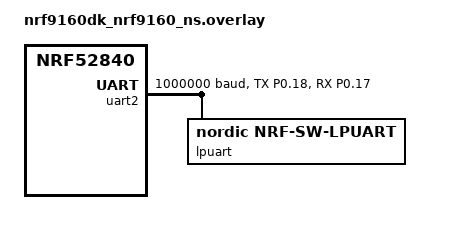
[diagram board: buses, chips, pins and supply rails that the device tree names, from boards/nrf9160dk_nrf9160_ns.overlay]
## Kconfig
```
# Copyright (c) 2025 Golioth, Inc.
# SPDX-License-Identifier: Apache-2.0

configdefault NET_SHELL
	default n

configdefault MBEDTLS_USE_PSA_CRYPTO
	default n

configdefault MBEDTLS_HEAP_SIZE
	default 16384

configdefault BT_CTLR_DATA_LENGTH_MAX
	default 251

configdefault MBEDTLS_PSA_CRYPTO_STORAGE_C
	default n

source "${ZEPHYR_GOLIOTH_FIRMWARE_SDK_MODULE_DIR}/examples/zephyr/common/Kconfig.defconfig"

source "Kconfig.zephyr"
```

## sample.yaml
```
sample:
  name: Pouch Gateway
common:
  tags: bluetooth
  harness: pytest
  harness_config:
    pytest_dut_scope: module
  sysbuild: true
  platform_allow:
    - nrf52_bsim
  integration_platforms:
    - nrf52_bsim
  timeout: 120
tests:
  pouch-gateway.gateway.lesc:
    extra_args:
      - SB_CONFIG_PERIPHERAL_MOUNT_CREDS=y
      - peripheral_ble_gatt_example_0_CONFIG_PICOLIBC=y
      - peripheral_ble_gatt_example_0_CONFIG_FILE_SYSTEM_NSIM_MOUNT=y
      - peripheral_ble_gatt_example_0_CONFIG_EXAMPLE_SYNC_PERIOD_S=2
  pouch-gateway.gateway.auth:
    extra_args:
      - SB_CONFIG_PERIPHERAL_MOUNT_CREDS=y
      - peripheral_ble_gatt_example_0_CONFIG_PICOLIBC=y
      - peripheral_ble_gatt_example_0_CONFIG_FILE_SYSTEM_NSIM_MOUNT=y
      - peripheral_ble_gatt_example_0_CONFIG_EXAMPLE_SYNC_PERIOD_S=2
      - gateway_CONFIG_POUCH_GATEWAY_GATT_SCAN_FILTER_BONDED=y
```

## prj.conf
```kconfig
CONFIG_POUCH_GATEWAY=y

CONFIG_BT=y
CONFIG_BT_CENTRAL=y
CONFIG_BT_MAX_CONN=16
CONFIG_BT_GATT_CLIENT=y
CONFIG_BT_GATT_CACHING=n
CONFIG_BT_GATT_AUTO_UPDATE_MTU=y
CONFIG_BT_L2CAP_TX_MTU=247
CONFIG_BT_BUF_ACL_TX_SIZE=251
CONFIG_BT_BUF_ACL_RX_SIZE=251

CONFIG_COAP_INIT_ACK_TIMEOUT_MS=3000

CONFIG_LOG=y

# Settings subsystem
CONFIG_FCB=y
CONFIG_FLASH=y
CONFIG_FLASH_MAP=y

CONFIG_SETTINGS=y
CONFIG_SETTINGS_FCB=y

# Application
CONFIG_GOLIOTH_SAMPLE_COMMON=y
CONFIG_GOLIOTH_SAMPLE_SETTINGS_SHELL=y

# Golioth Firmware SDK with all dependencies
CONFIG_GOLIOTH_FIRMWARE_SDK=y
CONFIG_GOLIOTH_GATEWAY=y

# Golioth logging backend
CONFIG_LOG_MODE_DEFERRED=y
CONFIG_LOG_BACKEND_GOLIOTH=y

# Application
CONFIG_MAIN_STACK_SIZE=2048
CONFIG_SYSTEM_WORKQUEUE_STACK_SIZE=2048
CONFIG_SHELL=y

# Pouch BLE GATT Transport
CONFIG_POUCH_TRANSPORT_GATT_COMMON=y

CONFIG_ZVFS_EVENTFD_MAX=11

# Pouch server certificate parse
CONFIG_MBEDTLS_PSA_CRYPTO_C=y
CONFIG_MBEDTLS_PEM_CERTIFICATE_FORMAT=y
CONFIG_PSA_WANT_ALG_ECDSA=y
CONFIG_PSA_WANT_ALG_SHA_384=y
CONFIG_PSA_WANT_ECC_SECP_R1_256=y
CONFIG_PSA_WANT_ECC_SECP_R1_384=y
CONFIG_PSA_WANT_KEY_TYPE_ECC_PUBLIC_KEY=y

# Bluetooth secure connections
CONFIG_BT_SMP=y
CONFIG_MBEDTLS_ECP_C=y
# This option is implied by BT_SMP and breaks secp384r1 support
CONFIG_MBEDTLS_PSA_P256M_DRIVER_ENABLED=n
```

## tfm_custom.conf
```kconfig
CONFIG_TFM_PROFILE_TYPE_NOT_SET=y
CONFIG_PM_PARTITION_SIZE_TFM_SRAM=0x8000
CONFIG_PM_PARTITION_SIZE_TFM=0x7E00
CONFIG_TFM_CRYPTO_RNG_MODULE_ENABLED=y
CONFIG_TFM_PARTITION_CRYPTO=y
CONFIG_TFM_PARTITION_PLATFORM=y
CONFIG_TFM_PARTITION_PROTECTED_STORAGE=n
CONFIG_TFM_PARTITION_INTERNAL_TRUSTED_STORAGE=n
CONFIG_PM_PARTITION_SIZE_TFM_INTERNAL_TRUSTED_STORAGE=0
CONFIG_TFM_SFN=y

CONFIG_TFM_EXCEPTION_INFO_DUMP=n
CONFIG_TFM_CRYPTO_AEAD_MODULE_ENABLED=n
CONFIG_TFM_CRYPTO_ASYM_ENCRYPT_MODULE_ENABLED=n
CONFIG_TFM_CRYPTO_ASYM_SIGN_MODULE_ENABLED=n
CONFIG_TFM_CRYPTO_BUILTIN_KEYS=n
CONFIG_TFM_CRYPTO_CIPHER_MODULE_ENABLED=y
CONFIG_TFM_CRYPTO_HASH_MODULE_ENABLED=n
CONFIG_TFM_CRYPTO_KEY_DERIVATION_MODULE_ENABLED=n
CONFIG_TFM_CRYPTO_MAC_MODULE_ENABLED=y
CONFIG_MBEDTLS_CHACHAPOLY_C=n
CONFIG_MBEDTLS_PSA_CRYPTO_STORAGE_C=n
CONFIG_MBEDTLS_CCM_C=y
CONFIG_MBEDTLS_GCM_C=n
CONFIG_MBEDTLS_CHACHA20_C=n
CONFIG_MBEDTLS_POLY1305_C=n
CONFIG_MBEDTLS_CIPHER_MODE_CBC=n
CONFIG_MBEDTLS_CIPHER_MODE_CTR=n
CONFIG_MBEDTLS_CMAC_C=y
CONFIG_MBEDTLS_DHM_C=n
CONFIG_MBEDTLS_FORCE_LEGACY_CIPHER=y
CONFIG_MBEDTLS_FORCE_LEGACY_MD=y
CONFIG_MBEDTLS_MAC_SHA256_ENABLED=n
CONFIG_MBEDTLS_SHA1_C=n
CONFIG_PSA_WANT_ALG_HMAC_DRBG=y
CONFIG_PSA_WANT_ALG_CBC_PKCS7=n
CONFIG_PSA_WANT_ALG_CCM=n
CONFIG_PSA_WANT_ALG_CHACHA20=n
CONFIG_PSA_WANT_ALG_CHACHA20_POLY1305=n
CONFIG_PSA_WANT_ALG_CTR=n
CONFIG_PSA_WANT_ALG_CTR_DRBG=n
CONFIG_PSA_WANT_ALG_CMAC=y
CONFIG_PSA_WANT_GENERATE_RANDOM=y
CONFIG_MBEDTLS_AES_ROM_TABLES=n
CONFIG_MBEDTLS_CIPHER_PADDING_ONE_AND_ZEROS=n
CONFIG_MBEDTLS_CIPHER_PADDING_PKCS7=n
CONFIG_MBEDTLS_CIPHER_PADDING_ZEROS=n
CONFIG_MBEDTLS_CIPHER_PADDING_ZEROS_AND_LEN=n
CONFIG_MBEDTLS_PKCS5_C=n
CONFIG_PSA_WANT_KEY_TYPE_CHACHA20=n
CONFIG_TFM_CRYPTO_KEY_MODULE_ENABLED=n
CONFIG_HW_UNIQUE_KEY=n
CONFIG_TFM_LOG_LEVEL_SILENCE=y
CONFIG_TFM_CRYPTO_CONC_OPER_NUM=1
CONFIG_TFM_CRYPTO_ENGINE_BUF_SIZE=4096
CONFIG_TFM_CRYPTO_IOVEC_BUFFER_SIZE=2048
CONFIG_TFM_CRYPTO_PARTITION_STACK_SIZE=0x800
CONFIG_PM_PARTITION_SIZE_TFM=0x17E00
CONFIG_PM_PARTITION_SIZE_TFM_SRAM=0xc000
CONFIG_TFM_CRYPTO_KEY_MODULE_ENABLED=y
CONFIG_TFM_CRYPTO_KEY_DERIVATION_MODULE_ENABLED=y
# Enable ECC support for Bluetooth through PSA Crypto
CONFIG_PSA_WANT_ECC_SECP_R1_256=y
CONFIG_PSA_WANT_ALG_ECDH=y
CONFIG_PSA_WANT_KEY_TYPE_ECC_KEY_PAIR_GENERATE=y
CONFIG_PSA_WANT_KEY_TYPE_ECC_KEY_PAIR_DERIVE=y
CONFIG_PSA_WANT_KEY_TYPE_ECC_KEY_PAIR_IMPORT=y
CONFIG_PSA_WANT_KEY_TYPE_ECC_KEY_PAIR_EXPORT=y
CONFIG_PSA_WANT_KEY_TYPE_ECC_PUBLIC_KEY=y
CONFIG_MBEDTLS_ECP_C=y
CONFIG_MBEDTLS_ECP_DP_SECP256R1_ENABLED=y
CONFIG_MBEDTLS_ECDH_C=y
# Enable AES and CMAC for Bluetooth SMP pairing
CONFIG_PSA_WANT_ALG_ECB_NO_PADDING=y
CONFIG_PSA_WANT_KEY_TYPE_AES=y
CONFIG_MBEDTLS_AES_C=y
CONFIG_MBEDTLS_CIPHER=y
CONFIG_WARN_EXPERIMENTAL=n
# Disable SSL features not needed for Bluetooth
CONFIG_MBEDTLS_SSL_CONTEXT_SERIALIZATION=n

CONFIG_SHELL=y
```

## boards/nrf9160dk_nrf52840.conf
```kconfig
# PPP
CONFIG_NET_L2_PPP=y
CONFIG_NET_L2_PPP_OPTION_DNS_USE=y

# Network management
CONFIG_NET_MGMT=y
CONFIG_NET_MGMT_EVENT=y
CONFIG_NET_CONNECTION_MANAGER=y

# Modem driver
CONFIG_MODEM=y
CONFIG_MODEM_CELLULAR=y

# Align with the Serial LTE Modem (SLM) application.
CONFIG_MODEM_CELLULAR_UART_BUFFER_SIZES=6000

# Reduce periodic AT command polling to minimize CMUX contention
CONFIG_MODEM_CELLULAR_PERIODIC_SCRIPT_MS=30000

# CMUX configuration
# MTU must accommodate PPP frames (up to 1500 bytes for IP packets)
CONFIG_MODEM_CMUX_MTU=1500
CONFIG_MODEM_CMUX_WORK_BUFFER_SIZE_EXTRA=1024

# NB-IoT latency can reach 10s; use greater timeouts
CONFIG_NET_SOCKETS_DNS_TIMEOUT=15000
CONFIG_NET_SOCKETS_CONNECT_TIMEOUT=15000
CONFIG_COAP_INIT_ACK_TIMEOUT_MS=15000
CONFIG_NET_SOCKETS_DTLS_TIMEOUT=15000
```

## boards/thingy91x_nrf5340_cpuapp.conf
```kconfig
# PPP networking over Serial Modem
CONFIG_NET_L2_PPP=y
CONFIG_NET_L2_PPP_OPTION_DNS_USE=y

# Network management
CONFIG_NET_MGMT=y
CONFIG_NET_MGMT_EVENT=y
CONFIG_NET_CONNECTION_MANAGER=y

# Modem driver
CONFIG_MODEM=y
CONFIG_MODEM_CELLULAR=y

# CMUX and buffer configuration
# MTU must accommodate PPP frames (up to 1500 bytes for IP packets)
CONFIG_MODEM_CMUX_MTU=1500
CONFIG_MODEM_CELLULAR_UART_BUFFER_SIZES=6000
CONFIG_MODEM_CMUX_WORK_BUFFER_SIZE_EXTRA=1024

# UART configuration for nRF5340
CONFIG_UART_INTERRUPT_DRIVEN=y
CONFIG_UART_ASYNC_API=n

# GPIO
CONFIG_GPIO=y

# Console on RTT (UART0 is used for the modem)
CONFIG_UART_CONSOLE=n
CONFIG_RTT_CONSOLE=y
CONFIG_SHELL_BACKEND_RTT=y
CONFIG_LOG_BACKEND_UART=n
CONFIG_SEGGER_RTT_BUFFER_SIZE_UP=2048

# Debug logging
CONFIG_LOG_DEFAULT_LEVEL=3

# NB-IoT latency can reach 10s; use greater timeouts
CONFIG_NET_SOCKETS_DNS_TIMEOUT=15000
CONFIG_NET_SOCKETS_CONNECT_TIMEOUT=15000
CONFIG_COAP_INIT_ACK_TIMEOUT_MS=15000
CONFIG_NET_SOCKETS_DTLS_TIMEOUT=15000
```

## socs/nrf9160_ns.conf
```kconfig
# Copyright (c) 2025 Golioth, Inc.
# SPDX-License-Identifier: Apache-2.0

# General config
CONFIG_HEAP_MEM_POOL_SIZE=65536
CONFIG_NEWLIB_LIBC=y

# Networking
CONFIG_NET_SOCKETS_OFFLOAD=y
CONFIG_NET_IPV6=y
CONFIG_NET_IPV6_NBR_CACHE=n
CONFIG_NET_IPV6_MLD=n

# Increase native TLS socket implementation, so that it is chosen instead of
# offloaded nRF91 sockets
CONFIG_NET_SOCKETS_TLS_PRIORITY=35

# Modem library
CONFIG_NRF_MODEM_LIB=y

# LTE connectivity with network connection manager
CONFIG_NRF_MODEM_LIB_NET_IF=y
CONFIG_NRF_MODEM_LIB_NET_IF_AUTO_START=y
CONFIG_NRF_MODEM_LIB_NET_IF_AUTO_CONNECT=n
CONFIG_NET_CONNECTION_MANAGER=y
CONFIG_NET_CONNECTION_MANAGER_MONITOR_STACK_SIZE=1024

# Add Logs for LTE Link Handler
CONFIG_GOLIOTH_SAMPLE_NRF91_LTE_MONITOR=y

# Disable options y-selected by NCS for no good reason
CONFIG_MBEDTLS_KEY_EXCHANGE_DHE_PSK_ENABLED=n
CONFIG_MBEDTLS_KEY_EXCHANGE_DHE_RSA_ENABLED=n
CONFIG_MBEDTLS_PK_PARSE_EC_EXTENDED=n

# MbedTLS configuration to support p-384 curve. These options
# enable using the MbedTLS built-in support for operations not
# supported by the default nRF Oberon crypto backend
CONFIG_NORDIC_SECURITY_BACKEND=n
CONFIG_MBEDTLS_LEGACY_CRYPTO_C=y

# Add Network Info Support
CONFIG_MODEM_INFO=y

# Generate MCUboot compatible images
CONFIG_BOOTLOADER_MCUBOOT=y

# Enable TF-M crypto modules for Bluetooth ECC operations
# Note: These may not take effect with MINIMAL profile due to Kconfig dependencies
CONFIG_TFM_CRYPTO_KEY_MODULE_ENABLED=y
CONFIG_TFM_CRYPTO_KEY_DERIVATION_MODULE_ENABLED=y
```

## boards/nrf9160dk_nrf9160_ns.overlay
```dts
/*
 * Copyright (c) 2022 Nordic Semiconductor ASA
 *
 * SPDX-License-Identifier: LicenseRef-Nordic-5-Clause
 */

#include <nrf9160/nrf9160dk_nrf52840_reset_on_if5.dtsi>

/ {
	chosen {
		zephyr,bt-hci = &bt_hci_uart;
	};
};

&gpiote {
	interrupts = <49 NRF_DEFAULT_IRQ_PRIORITY>;
};

&uart2 {
	current-speed = <1000000>;
	status = "okay";
	/delete-property/ hw-flow-control;

	pinctrl-0 = <&uart2_default_alt>;
	pinctrl-1 = <&uart2_sleep_alt>;
	lpuart: nrf-sw-lpuart {
		compatible = "nordic,nrf-sw-lpuart";
		status = "okay";
		req-pin = <21>; /* <&interface_to_nrf52840 3 0>; */
		rdy-pin = <19>; /* <&interface_to_nrf52840 2 0>; */

		bt_hci_uart: bt_hci_uart {
			compatible = "zephyr,bt-hci-uart";
			status = "okay";
		};
	};
};
&uart1 {
	status = "disabled";
};

&pinctrl {
	uart2_default_alt: uart2_default_alt {
		group1 {
			psels = <NRF_PSEL(UART_TX, 0, 18)>;
		};
		group2 {
			psels = <NRF_PSEL(UART_RX, 0, 17)>;
			bias-pull-up;
		};
	};

	uart2_sleep_alt: uart2_sleep_alt {
		group1 {
			psels = <NRF_PSEL(UART_TX, 0, 18)>,
				<NRF_PSEL(UART_RX, 0, 17)>;
			low-power-enable;
		};
	};
};
```

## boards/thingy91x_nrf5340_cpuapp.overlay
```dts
/*
 * Thingy:91 X overlay for Serial Modem communication with on-board nRF9151
 *
 * UART0 is used for Serial Modem communication with 4-wire UART (HW flow control).
 * Pin assignment matches the pouch-gateway BT HCI UART wiring:
 *   TX  = P0.29 <-> nRF9151 P0.00 (RX)
 *   RX  = P1.04 <-> nRF9151 P0.01 (TX)
 *   RTS = P1.06 <-> nRF9151 P0.05 (CTS)
 *   CTS = P1.08 <-> nRF9151 P0.04 (RTS)
 *   DTR = P1.15 <-> nRF9151 P0.26 (Power/DTR)
 *
 * Console is on RTT since UART0 is used for the modem.
 */

/ {
	aliases {
		modem = &modem;
	};
};

&uart0 {
	status = "okay";
	current-speed = <115200>;
	hw-flow-control;
	pinctrl-0 = <&uart_vcom0_vcom1_default>;
	pinctrl-1 = <&uart_vcom0_vcom1_sleep>;
	pinctrl-names = "default", "sleep";

	/* Nordic nRF91 Serial Modem configuration */
	modem: modem {
		compatible = "nordic,nrf91-slm";
		status = "okay";
		mdm-dtr-gpios = <&gpio0 30 GPIO_ACTIVE_LOW>;
		mdm-ring-gpios = <&gpio0 31 (GPIO_ACTIVE_LOW | GPIO_PULL_DOWN)>;
	};
};

&pinctrl {
	/* UART0 with HW flow control using pouch-gateway BT HCI pin assignment */
	uart_vcom0_vcom1_default: uart_vcom0_vcom1_default {
		group1 {
			psels = <NRF_PSEL(UART_TX,  0, 29)>,
			        <NRF_PSEL(UART_CTS, 1, 8)>,
			        <NRF_PSEL(UART_RX,  1, 4)>,
			        <NRF_PSEL(UART_RTS, 1, 6)>;
		};
	};

	uart_vcom0_vcom1_sleep: uart_vcom0_vcom1_sleep {
		group1 {
			psels = <NRF_PSEL(UART_TX, 0, 29)>,
				<NRF_PSEL(UART_CTS, 1, 8)>,
				<NRF_PSEL(UART_RX, 1, 4)>,
				<NRF_PSEL(UART_RTS, 1, 6)>;
			low-power-enable;
		};
	};
};
```

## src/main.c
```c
/*
 * Copyright (c) 2025 Golioth, Inc.
 *
 * SPDX-License-Identifier: Apache-2.0
 */

#include <zephyr/bluetooth/bluetooth.h>
#include <zephyr/bluetooth/conn.h>
#include <zephyr/bluetooth/hci.h>
#include <zephyr/net/net_if.h>
#include <zephyr/net/dhcpv4.h>
#include <zephyr/drivers/gpio.h>

#include <golioth/client.h>
#include <golioth/gateway.h>
#include <samples/common/sample_credentials.h>

#include <pouch/transport/gatt/common/types.h>

#include <pouch_gateway/bt/bond.h>
#include <pouch_gateway/bt/connect.h>
#include <pouch_gateway/bt/scan.h>
#include <pouch_gateway/cert.h>
#include <pouch_gateway/downlink.h>
#include <pouch_gateway/uplink.h>

#include <git_describe.h>

#include <zephyr/logging/log.h>
LOG_MODULE_REGISTER(main);

struct golioth_client *client;

struct net_wait_data
{
    struct k_sem sem;
    struct net_mgmt_event_callback cb;
};

static const struct gpio_dt_spec button = GPIO_DT_SPEC_GET_OR(DT_ALIAS(sw0), gpios, {});
static struct gpio_callback button_cb_data;
static struct bt_conn *default_conn;

static const k_timeout_t bonding_timeout = K_SECONDS(30);
static const bt_security_t bt_security =
    IS_ENABLED(CONFIG_POUCH_GATEWAY_GATT_SCAN_FILTER_BONDED) ? BT_SECURITY_L4 : BT_SECURITY_L2;

static void button_pressed(const struct device *dev, struct gpio_callback *cb, uint32_t pins)
{
    if (default_conn)
    {
        LOG_INF("Confirming passkey");
        bt_conn_auth_passkey_confirm(default_conn);
    }
    else if (pouch_gateway_bonding_is_enabled())
    {
        LOG_WRN("Bonding already enabled");
    }
    else
    {
        pouch_gateway_bonding_enable(bonding_timeout);
    }
}

#ifdef CONFIG_POUCH_GATEWAY_CLOUD

static K_SEM_DEFINE(connected, 0, 1);

static void on_client_event(struct golioth_client *client,
                            enum golioth_client_event event,
                            void *arg)
{
    bool is_connected = (event == GOLIOTH_CLIENT_EVENT_CONNECTED);
    if (is_connected)
    {
        k_sem_give(&connected);
    }
    LOG_INF("Golioth client %s", is_connected ? "connected" : "disconnected");
}

static void connect_golioth_client(void)
{
    const struct golioth_client_config *client_config = golioth_sample_credentials_get();
    if (client_config == NULL || client_config->credentials.psk.psk_id_len == 0
        || client_config->credentials.psk.psk_len == 0)
    {
        LOG_ERR("No credentials found.");
        LOG_ERR(
            "Please store your credentials with the following commands, then reboot the device.");
        LOG_ERR("\tsettings set golioth/psk-id <your-psk-id>");
        LOG_ERR("\tsettings set golioth/psk <your-psk>");
        return;
    }

    client = golioth_client_create(client_config);

    golioth_client_register_event_callback(client, on_client_event, NULL);
}

static void event_cb_handler(struct net_mgmt_event_callback *cb,
                             uint64_t mgmt_event,
                             struct net_if *iface)
{
    struct net_wait_data *wait = CONTAINER_OF(cb, struct net_wait_data, cb);

    if (mgmt_event == cb->event_mask)
    {
        k_sem_give(&wait->sem);
    }
}

static void wait_for_net_event(struct net_if *iface, uint64_t event)
{
    struct net_wait_data wait;

    wait.cb.handler = event_cb_handler;
    wait.cb.event_mask = event;

    k_sem_init(&wait.sem, 0, 1);
    net_mgmt_add_event_callback(&wait.cb);

    k_sem_take(&wait.sem, K_FOREVER);

    net_mgmt_del_event_callback(&wait.cb);
}

static void connect_to_cloud(void)
{
    struct net_if *iface = net_if_get_default();

    if (!net_if_is_up(iface))
    {
        LOG_INF("Bringing up network interface (%p)", (void *) iface);
        int ret = net_if_up(iface);
        if ((ret < 0) && (ret != -EALREADY))
        {
            LOG_ERR("Failed to bring up network interface: %d", ret);
            return;
        }
    }

    if (IS_ENABLED(CONFIG_NET_L2_ETHERNET) && IS_ENABLED(CONFIG_NET_DHCPV4))
    {
        net_dhcpv4_start(net_if_get_default());
    }
    else if (IS_ENABLED(CONFIG_MODEM))
    {
        LOG_INF("Waiting to obtain IP address");
        wait_for_net_event(iface,
                           IS_ENABLED(DNS_SERVER_IP_ADDRESSES) ? NET_EVENT_DNS_SERVER_ADD
                                                               : NET_EVENT_IPV4_ADDR_ADD);
    }

    connect_golioth_client();
    k_sem_take(&connected, K_FOREVER);
}

#else /* CONFIG_POUCH_GATEWAY_CLOUD */

static inline void connect_to_cloud(void) {}

#endif /* CONFIG_POUCH_GATEWAY_CLOUD */

static void bt_connected(struct bt_conn *conn, uint8_t err)
{
    char addr[BT_ADDR_LE_STR_LEN];

    bt_addr_le_to_str(bt_conn_get_dst(conn), addr, sizeof(addr));

    if (err)
    {
        LOG_ERR("Failed to connect to %s %u %s", addr, err, bt_hci_err_to_str(err));

        bt_conn_unref(conn);

        pouch_gateway_scan_start();
        return;
    }

    LOG_INF("Connected: %s", addr);
    default_conn = conn;

    err = bt_conn_set_security(conn, bt_security);
    if (err)
    {
        LOG_ERR("Failed to set security (%d).", err);

        bt_conn_disconnect(conn, BT_HCI_ERR_REMOTE_USER_TERM_CONN);
        return;
    }
}

static void bt_disconnected(struct bt_conn *conn, uint8_t reason)
{
    char addr[BT_ADDR_LE_STR_LEN];

    default_conn = NULL;

    bt_addr_le_to_str(bt_conn_get_dst(conn), addr, sizeof(addr));
    LOG_INF("Disconnected: %s, reason 0x%02x %s", addr, reason, bt_hci_err_to_str(reason));

    pouch_gateway_bt_stop(conn);

    bt_conn_unref(conn);

    pouch_gateway_scan_start();
}

static void security_changed(struct bt_conn *conn, bt_security_t level, enum bt_security_err err)
{
    if (err)
    {
        LOG_ERR("BT security change failed. Current level: %d, err: %s(%u)",
                level,
                bt_security_err_to_str(err),
                err);

        struct bt_conn_info info;
        bt_conn_get_info(conn, &info);

        bt_unpair(info.id, info.le.dst);
        bt_conn_disconnect(conn, BT_HCI_ERR_INSUFFICIENT_SECURITY);
    }
    else
    {
        LOG_INF("BT security changed to level %u", level);

        pouch_gateway_bt_start(conn);
    }
}

BT_CONN_CB_DEFINE(conn_callbacks) = {
    .connected = bt_connected,
    .disconnected = bt_disconnected,
    .security_changed = security_changed,
};

static void auth_cancel(struct bt_conn *conn)
{
    char addr[BT_ADDR_LE_STR_LEN];

    bt_addr_le_to_str(bt_conn_get_dst(conn), addr, sizeof(addr));

    LOG_INF("Pairing cancelled: %s", addr);
}

static void auth_passkey_confirm(struct bt_conn *conn, unsigned int passkey)
{
    char addr[BT_ADDR_LE_STR_LEN];
    char passkey_str[7];

    bt_addr_le_to_str(bt_conn_get_dst(conn), addr, sizeof(addr));

    snprintk(passkey_str, 7, "%06u", passkey);

    LOG_INF("Confirm passkey for %s: %s", addr, passkey_str);

    if (IS_ENABLED(CONFIG_SAMPLE_POUCH_GATEWAY_BT_AUTO_CONFIRM))
    {
        LOG_INF("Confirming passkey");
        bt_conn_auth_passkey_confirm(conn);
    }
}

static void auth_passkey_display(struct bt_conn *conn, unsigned int passkey)
{
    char addr[BT_ADDR_LE_STR_LEN];
    char passkey_str[7];

    bt_addr_le_to_str(bt_conn_get_dst(conn), addr, sizeof(addr));

    snprintk(passkey_str, 7, "%06u", passkey);

    LOG_INF("Passkey for %s: %s", addr, passkey_str);
}

static struct bt_conn_auth_cb auth_cb = {
    .cancel = auth_cancel,

    .passkey_confirm =
        IS_ENABLED(CONFIG_POUCH_GATEWAY_GATT_SCAN_FILTER_BONDED) ? auth_passkey_confirm : NULL,
    .passkey_display =
        IS_ENABLED(CONFIG_POUCH_GATEWAY_GATT_SCAN_FILTER_BONDED) ? auth_passkey_display : NULL,
};

static void pairing_complete(struct bt_conn *conn, bool bonded)
{
    LOG_INF("Pairing Complete");
}

static void pairing_failed(struct bt_conn *conn, enum bt_security_err reason)
{
    LOG_WRN("Pairing Failed (%d). Disconnecting.", reason);

    bt_conn_disconnect(conn,
                       (reason == BT_SECURITY_ERR_PAIR_NOT_ALLOWED) ? BT_HCI_ERR_PAIRING_NOT_ALLOWED
                                                                    : BT_HCI_ERR_AUTH_FAIL);
}

static struct bt_conn_auth_info_cb auth_info_cb = {
    .pairing_complete = pairing_complete,
    .pairing_failed = pairing_failed,
};

void pouch_gateway_bt_finished(struct bt_conn *conn)
{
    bt_conn_disconnect(conn, BT_HCI_ERR_REMOTE_USER_TERM_CONN);
}

int main(void)
{
    int err;

    LOG_INF("Gateway Version: " STRINGIFY(GIT_DESCRIBE));
    LOG_INF("Pouch BLE Transport Protocol Version: %d", POUCH_GATT_VERSION);

    if (DT_HAS_ALIAS(sw0))
    {
        LOG_INF("Set up button at %s pin %d", button.port->name, button.pin);

        err = gpio_pin_configure_dt(&button, GPIO_INPUT);
        if (err < 0)
        {
            LOG_ERR("Could not initialize Button");
        }

        err = gpio_pin_interrupt_configure_dt(&button, GPIO_INT_EDGE_TO_ACTIVE);
        if (err)
        {
            LOG_ERR("Error %d: failed to configure interrupt on %s pin %d",
                    err,
                    button.port->name,
                    button.pin);
            return 0;
        }

        gpio_init_callback(&button_cb_data, button_pressed, BIT(button.pin));
        gpio_add_callback(button.port, &button_cb_data);
    }

    connect_to_cloud();

    pouch_gateway_cert_module_on_connected(client);
    pouch_gateway_uplink_module_init(client);
    pouch_gateway_downlink_module_init(client);

    err = bt_enable(NULL);
    if (err)
    {
        LOG_ERR("Bluetooth init failed (err %d)", err);
        return err;
    }

    if (IS_ENABLED(CONFIG_BT_SMP))
    {
        bt_conn_auth_cb_register(&auth_cb);
        bt_conn_auth_info_cb_register(&auth_info_cb);
    }

    LOG_INF("Bluetooth initialized");

    if (IS_ENABLED(CONFIG_SAMPLE_POUCH_GATEWAY_BT_AUTO_BOND))
    {
        pouch_gateway_bonding_enable(K_FOREVER);
    }

    pouch_gateway_scan_start();

#ifdef CONFIG_POUCH_GATEWAY_CLOUD
    while (true)
    {
        k_sem_take(&connected, K_FOREVER);
        pouch_gateway_cert_module_on_connected(client);
    }
#endif

    return 0;
}
```
